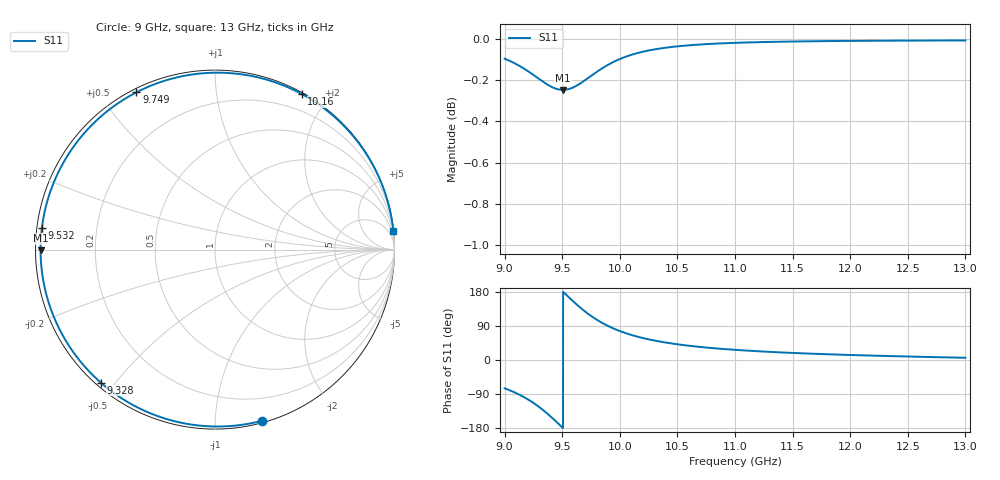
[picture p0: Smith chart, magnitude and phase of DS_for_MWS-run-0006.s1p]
! TOUCHSTONE file generated by CST DESIGN STUDIO
! Date and time: Tue Feb  4 12:41:15 2025
! Project name: C:\Work\MatlabApps\UnitCellOptimizationMatlab\CST\unitcell.cst
! Tree item: Tasks\Sweep1\SPara1\S-Parameters
! Header version: 2024
! Port assignment regex: !\s*Touchstone port\s*([0-9]+)\s*=\s*(CST MWS port|CST DES external port|CST DES block port)\s*(.+)\s* \(\"(.*)\"\)(\s*mode\s*([0-9]+))?.*
! Touchstone port assignment:
! Touchstone port 1 = CST DES external port 1 ("")
# GHz S MA R 50
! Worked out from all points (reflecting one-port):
!   4001 points, 9 GHz to 13 GHz, reference 50 ohm
!   lowest |S11| = -0.2 dB at 9.507 GHz (marker M1), VSWR 70.49, Z = 0.709 - j0.0807 ohm
!   phase of S11 starts at -75 deg and turns -279 deg over the sweep
!   S11 on the Smith chart (normalised r, x): 9 GHz: 0.01, -1.31; 9.328 GHz: 0.01, -0.46; 9.532 GHz: 0.01, +0.06; 9.749 GHz: 0.01, +0.62; 10.16 GHz: 0.01, +1.70; 13 GHz: 0, +20
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9  0.9891 -74.8
9.087  0.9866 -85.6
9.19  0.9828 -101.7
9.262  0.9796 -115.7
9.328  0.9767 -130.7
9.375  0.9748 -142.6
9.423  0.9732 -155.6
9.462  0.9724 -166.7
9.5  0.972 -177.8
9.507  0.972 -179.8
9.532  0.9721 172.9
9.586  0.9731 157.4
9.646  0.9751 141.0
9.697  0.9772 128.3
9.749  0.9796 116.5
9.801  0.9819 106.1
9.858  0.9843 96.0
9.929  0.9868 85.3
10  0.989 76.4
10.162  0.9924 60.9
10.316  0.9945 50.4
10.5  0.996 41.4
10.722  0.9971 33.7
11  0.998 26.8
11.5  0.9987 18.6
12  0.999 13.2
12.5  0.9992 9.2
13  0.9993 5.8
